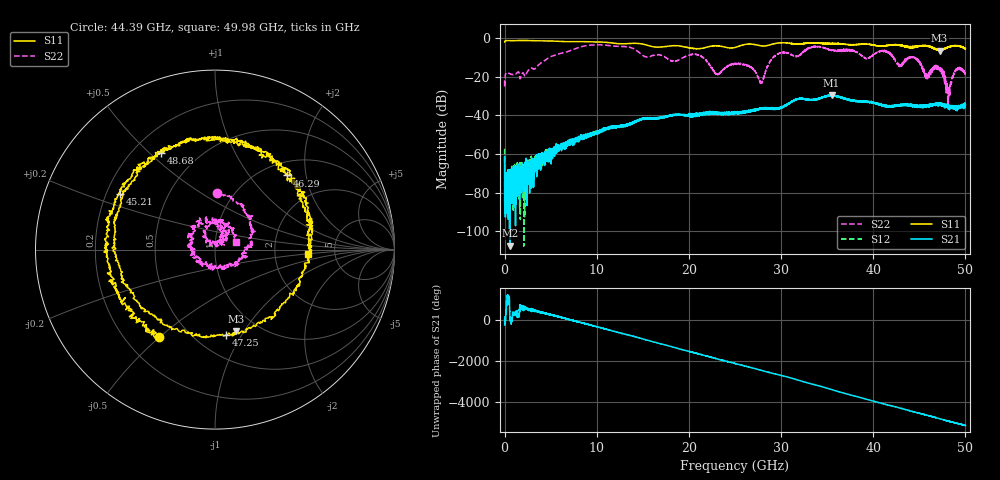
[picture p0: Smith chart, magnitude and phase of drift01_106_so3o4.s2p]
!Created with skrf (http://scikit-rf.org).
# Hz S RI R 50.0
!freq ReS11 ImS11 ReS21 ImS21 ReS12 ImS12 ReS22 ImS22
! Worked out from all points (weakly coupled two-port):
!   10001 points, 300 kHz to 50 GHz, reference 50 ohm
!   highest |S21| = -29.60 dB at 35.48 GHz (marker M1); lowest = -107.5 dB at 570.3 MHz (marker M2)
!   lowest |S11| = -6.6 dB at 47.2 GHz (marker M3), VSWR 2.77, Z = 39.4 - j46 ohm
!   |S11| at or under -10 dB: nowhere
!   |S22| runs from -35.6 to -3.6 dB; largest |S21 - S12| = 0.0039
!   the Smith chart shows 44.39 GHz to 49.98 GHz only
!   S11 on the Smith chart (normalised r, x): 44.39 GHz: 0.34, -0.50; 45.21 GHz: 0.26, +0.25; 46.29 GHz: 1.26, +1.57; 47.25 GHz: 0.70, -0.86; 48.68 GHz: 0.31, +0.55; 49.98 GHz: 3.16, -0.21
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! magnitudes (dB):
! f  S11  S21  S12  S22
! 300 kHz  -2.1  -61.4  -57.3  -22.0
! 255.3 MHz  -1.4  -71.2  -70.5  -18.0
! 570.3 MHz  -1.5  -107.5  -78.7  -18.6
! 8.335 GHz  -1.9  -51.4  -52.3  -4.5
! 16.67 GHz  -4.8  -41.6  -41.6  -8.7
! 20.97 GHz  -5.6  -39.8  -39.3  -8.8
! 23.08 GHz  -4.1  -38.5  -38.6  -18.6
! 25 GHz  -5.0  -38.7  -38.7  -13.8
! 27.84 GHz  -4.1  -36.4  -36.7  -23.0
! 29.47 GHz  -2.9  -36.5  -36.8  -8.8
! 33.34 GHz  -2.6  -32.2  -31.9  -4.7
! 35.48 GHz  -3.0  -29.6  -29.7  -6.5
! 41.67 GHz  -3.8  -35.2  -35.9  -7.8
! 44.39 GHz  -4.7  -35.0  -35.0  -10.0
! 45.21 GHz  -4.3  -35.9  -35.5  -14.0
! 46.29 GHz  -4.8  -34.3  -34.8  -16.6
! 47.2 GHz  -6.6  -34.6  -34.5  -15.8
! 47.25 GHz  -6.4  -33.7  -34.1  -17.1
! 48.12 GHz  -4.9  -35.1  -35.2  -33.6
! 48.68 GHz  -4.2  -36.3  -35.9  -19.6
! 49.98 GHz  -5.7  -34.6  -35.5  -18.2
! 50 GHz  -5.6  -34.9  -34.6  -18.4
